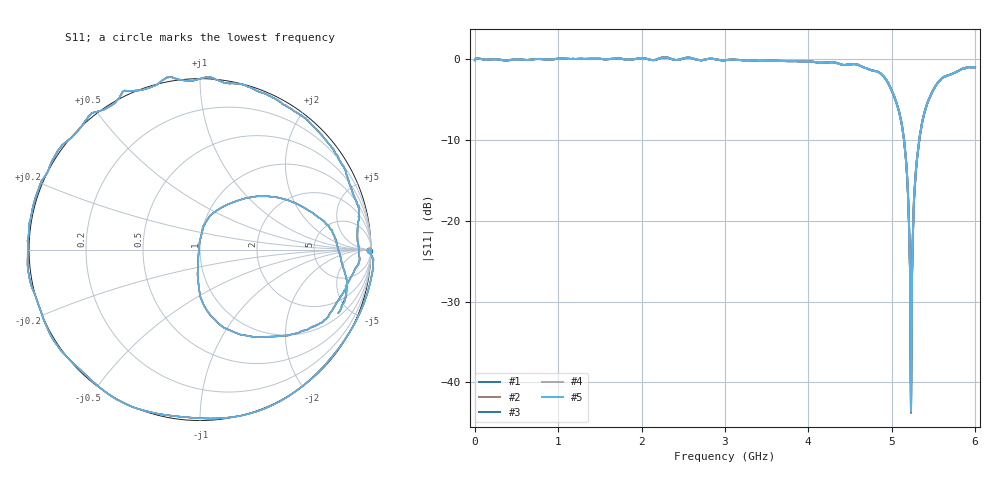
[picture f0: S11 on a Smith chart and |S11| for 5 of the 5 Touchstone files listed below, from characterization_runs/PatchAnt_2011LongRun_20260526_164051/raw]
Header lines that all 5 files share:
# Hz S RI R 50
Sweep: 1 MHz to 6 GHz
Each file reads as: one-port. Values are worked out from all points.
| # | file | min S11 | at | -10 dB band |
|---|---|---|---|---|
| 1 | 0041_20260527T124102Z_PatchAnt_2011LongRun.s1p | -43.7 dB | 5.232 GHz | 182.7 MHz wide |
| 2 | 0042_20260527T131102Z_PatchAnt_2011LongRun.s1p | -43.5 dB | 5.232 GHz | 182.6 MHz wide |
| 3 | 0043_20260527T134102Z_PatchAnt_2011LongRun.s1p | -43.8 dB | 5.232 GHz | 182.9 MHz wide |
| 4 | 0044_20260527T141102Z_PatchAnt_2011LongRun.s1p | -43.7 dB | 5.232 GHz | 182.5 MHz wide |
| 5 | 0045_20260527T144102Z_PatchAnt_2011LongRun.s1p | -43.6 dB | 5.232 GHz | 182.5 MHz wide |
